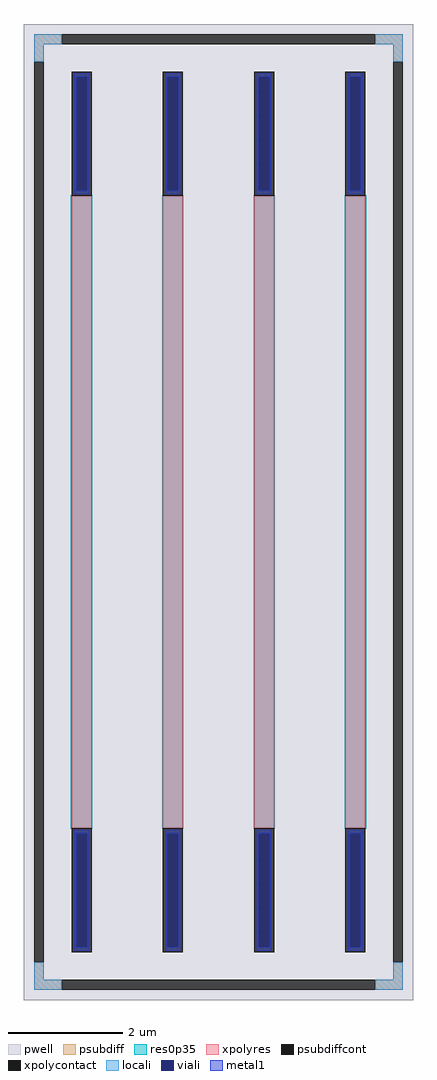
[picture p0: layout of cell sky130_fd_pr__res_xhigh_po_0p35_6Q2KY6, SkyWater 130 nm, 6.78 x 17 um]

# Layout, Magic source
magic
tech sky130A
magscale 1 2
<< pwell >>
rect -678 -1700 678 1700
<< psubdiff >>
rect -642 1630 -546 1664
rect 546 1630 642 1664
rect -642 1568 -608 1630
rect 608 1568 642 1630
rect -642 -1630 -608 -1568
rect 608 -1630 642 -1568
rect -642 -1664 -546 -1630
rect 546 -1664 642 -1630
<< psubdiffcont >>
rect -546 1630 546 1664
rect -642 -1568 -608 1568
rect 608 -1568 642 1568
rect -546 -1664 546 -1630
<< xpolycontact >>
rect -512 1102 -442 1534
rect -512 -1534 -442 -1102
rect -194 1102 -124 1534
rect -194 -1534 -124 -1102
rect 124 1102 194 1534
rect 124 -1534 194 -1102
rect 442 1102 512 1534
rect 442 -1534 512 -1102
<< xpolyres >>
rect -512 -1102 -442 1102
rect -194 -1102 -124 1102
rect 124 -1102 194 1102
rect 442 -1102 512 1102
<< locali >>
rect -642 1630 -546 1664
rect 546 1630 642 1664
rect -642 1568 -608 1630
rect 608 1568 642 1630
rect -642 -1630 -608 -1568
rect 608 -1630 642 -1568
rect -642 -1664 -546 -1630
rect 546 -1664 642 -1630
<< viali >>
rect -496 1119 -458 1516
rect -178 1119 -140 1516
rect 140 1119 178 1516
rect 458 1119 496 1516
rect -496 -1516 -458 -1119
rect -178 -1516 -140 -1119
rect 140 -1516 178 -1119
rect 458 -1516 496 -1119
<< metal1 >>
rect -502 1516 -452 1528
rect -502 1119 -496 1516
rect -458 1119 -452 1516
rect -502 1107 -452 1119
rect -184 1516 -134 1528
rect -184 1119 -178 1516
rect -140 1119 -134 1516
rect -184 1107 -134 1119
rect 134 1516 184 1528
rect 134 1119 140 1516
rect 178 1119 184 1516
rect 134 1107 184 1119
rect 452 1516 502 1528
rect 452 1119 458 1516
rect 496 1119 502 1516
rect 452 1107 502 1119
rect -502 -1119 -452 -1107
rect -502 -1516 -496 -1119
rect -458 -1516 -452 -1119
rect -502 -1528 -452 -1516
rect -184 -1119 -134 -1107
rect -184 -1516 -178 -1119
rect -140 -1516 -134 -1119
rect -184 -1528 -134 -1516
rect 134 -1119 184 -1107
rect 134 -1516 140 -1119
rect 178 -1516 184 -1119
rect 134 -1528 184 -1516
rect 452 -1119 502 -1107
rect 452 -1516 458 -1119
rect 496 -1516 502 -1119
rect 452 -1528 502 -1516
<< res0p35 >>
rect -514 -1104 -440 1104
rect -196 -1104 -122 1104
rect 122 -1104 196 1104
rect 440 -1104 514 1104
<< properties >>
string FIXED_BBOX -625 -1647 625 1647
string gencell sky130_fd_pr__res_xhigh_po_0p35
string library sky130
string parameters w 0.350 l 11.02 m 1 nx 4 wmin 0.350 lmin 0.50 rho 2000 val 64.046k dummy 0 dw 0.0 term 188.2 sterm 0.0 caplen 0 wmax 0.350 guard 1 glc 1 grc 1 gtc 1 gbc 1 compatible {sky130_fd_pr__res_xhigh_po_0p35  sky130_fd_pr__res_xhigh_po_0p69 sky130_fd_pr__res_xhigh_po_1p41  sky130_fd_pr__res_xhigh_po_2p85 sky130_fd_pr__res_xhigh_po_5p73} full_metal 1 n_guard 0 hv_guard 0 vias 1 viagb 0 viagt 0 viagl 0 viagr 0
<< end >>
